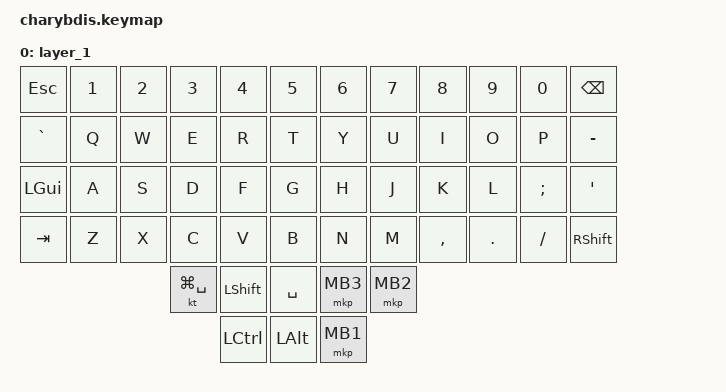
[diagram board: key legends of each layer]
#include "keys_de_swiss.h"
#include <dt-bindings/zmk/mouse.h>
#include <behaviors/mouse_keys.dtsi>
#include <behaviors.dtsi>
#include <dt-bindings/zmk/keys.h>
#include <dt-bindings/zmk/pointing.h>

// / {
//     chosen { zmk,matrix_transform = &default_transform; };
// };

/ {
    /* input config for mouse move mode */

    trackball_listener {
        compatible = "zmk,input-behavior-listener";
        device = <&vtrackball>;
        layers = <0 3 6>;
        evt-type = <INPUT_EV_REL>;
        x-input-code = <INPUT_REL_X>;
        y-input-code = <INPUT_REL_Y>;
        scale-multiplier = <1>;
        scale-divisor = <2>;

        // bindings = <&ib_toggle_layer 7>;
    };

    /* input config for snipe mode */

    trackball_snipe_listener {
        compatible = "zmk,input-behavior-listener";
        device = <&vtrackball>;
        layers = <10>;
        evt-type = <INPUT_EV_REL>;
        x-input-code = <INPUT_REL_X>;
        y-input-code = <INPUT_REL_Y>;
        scale-multiplier = <1>;
        scale-divisor = <4>;
    };

    /* input config for mouse scroll mode */

    trackball_scroll_listener {
        compatible = "zmk,input-behavior-listener";
        device = <&vtrackball>;
        layers = <9>;
        evt-type = <INPUT_EV_REL>;
        x-input-code = <INPUT_REL_MISC>;
        y-input-code = <INPUT_REL_WHEEL>;
        y-invert;
        bindings = <&ib_wheel_scaler 1 14>;
    };

    /* define a resolution down scaler only for INPUT_REL_WHEEL */

    ib_wheel_scaler: ib_wheel_scaler {
        compatible = "zmk,input-behavior-scaler";
        #binding-cells = <2>;
        evt-type = <INPUT_EV_REL>;
        input-code = <INPUT_REL_WHEEL>;
    };

    /* adjust cooldown waiting period for mouse key layer after activated */

    ib_toggle_layer: ib_toggle_layer {
        compatible = "zmk,input-behavior-tog-layer";
        #binding-cells = <1>;
        time-to-live-ms = <750>;
    };

    // #define QUERTZ    0
    // #define NUMBERS   1
    // #define NAV-FUN   2
    // #define MAC       3
    // #define MAC-NUM   4
    // #define MAC-NAV   5
    // #define GAME      6
    // #define GAME-NUM  7
    // #define GAME-NAV  8
    // #define SCROLL    9
    // #define SNIPER   10
    // #define FN       11

    combos {
        compatible = "zmk,combos";

        to-WIN {
            bindings = <&to 0>;
            key-positions = <50 51>;
        };

        to-MAC {
            bindings = <&to 0>;
            key-positions = <50 51>;
        };

        to-GAME {
            bindings = <&to 0>;
            key-positions = <47 36>;
        };

        to-FN {
            bindings = <&to 0>;
            key-positions = <41 42>;
        };

        caps_word {
            bindings = <&caps_word>;
            key-positions = <31 28>;
        };

        rh_leftClick {
            bindings = <&mkp LCLK>;
            key-positions = <43 44>;
        };

        rh_rightClick {
            bindings = <&mkp RCLK>;
            key-positions = <44 45>;
        };

        rh_middleClick {
            bindings = <&mkp MCLK>;
            key-positions = <44 45 43>;
        };

        lh_leftClick {
            bindings = <&mkp LCLK>;
            key-positions = <40 39>;
        };

        lh_rightClick {
            bindings = <&mkp RCLK>;
            key-positions = <38 39>;
        };

        lh_middleClick {
            bindings = <&mkp MCLK>;
            key-positions = <38 39 40>;
        };

        CAPZ {
            bindings = <&kp CAPSLOCK>;
            key-positions = <24 25>;
        };
    };

    behaviors {
        hmr: hmr {
            compatible = "zmk,behavior-hold-tap";
            label = "HMR";
            bindings = <&kp>, <&kp>;

            #binding-cells = <2>;
            tapping-term-ms = <190>;
            quick-tap-ms = <175>;
            flavor = "balanced";
            hold-trigger-key-positions = <0 1 2 3 4 5 12 13 14 15 16 17 24 25 26 27 28 29 36 37 38 39 40 41 48 49 50 53 54 51 52 55>;
            hold-trigger-on-release;
        };

        hml: hml {
            compatible = "zmk,behavior-hold-tap";
            label = "HML";
            bindings = <&kp>, <&kp>;

            #binding-cells = <2>;
            tapping-term-ms = <190>;
            quick-tap-ms = <175>;
            flavor = "balanced";
            hold-trigger-key-positions = <48 49 50 53 54 51 52 55 6 7 8 9 10 11 18 19 20 21 22 23 30 31 32 33 34 35 42 43 44 45 46 47 51 52>;
            hold-trigger-on-release;
        };
    };

    keymap {
        compatible = "zmk,keymap";

        layer_1 {
            bindings = <
&kp ESC    &kp N1  &kp N2  &kp N3         &kp N4     &kp N5          &kp N6    &kp N7    &kp N8     &kp N9   &kp N0    &kp BACKSPACE
&kp GRAVE  &kp Q   &kp W   &kp E          &kp R      &kp T           &kp Y     &kp U     &kp I      &kp O    &kp P     &kp MINUS
&kp LGUI   &kp A   &kp S   &kp D          &kp F      &kp G           &kp H     &kp J     &kp K      &kp L    &kp SEMI  &kp APOS
&kp TAB    &kp Z   &kp X   &kp C          &kp V      &kp B           &kp N     &kp M     &kp COMMA  &kp DOT  &kp FSLH  &kp RSHFT
                           &kt LG(SPACE)  &kp LSHFT  &kp SPACE       &mkp MB3  &mkp MB2
                                          &kp LCTRL  &kp LEFT_ALT    &mkp MB1
            >;
        };
    };
};
